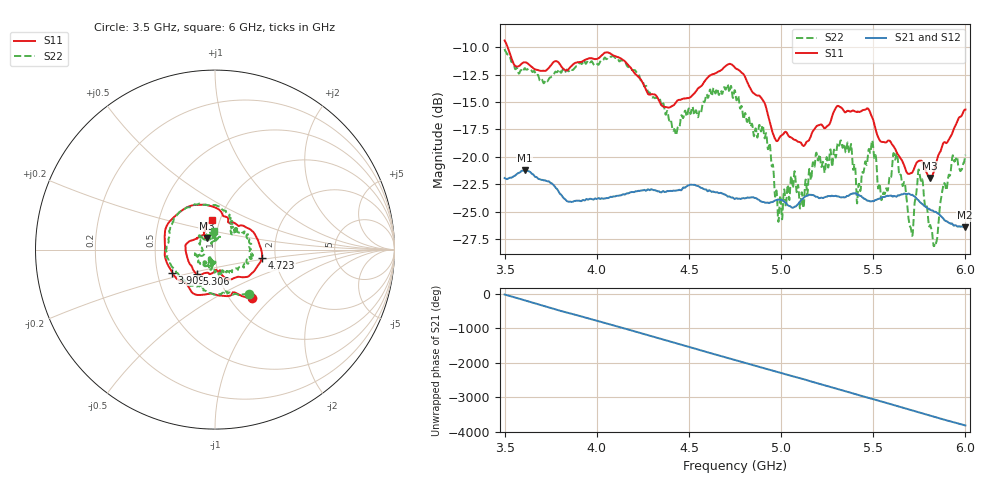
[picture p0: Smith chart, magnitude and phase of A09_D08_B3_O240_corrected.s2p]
! Created with skrf 1.9.0 (http://scikit-rf.org).
# Hz S RI R 50.0
!freq ReS11 ImS11 ReS21 ImS21 ReS12 ImS12 ReS22 ImS22
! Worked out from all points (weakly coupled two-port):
!   1601 points, 3.5 GHz to 6 GHz, reference 50 ohm
!   highest |S21| = -21.20 dB at 3.609 GHz (marker M1); lowest = -26.4 dB at 5.995 GHz (marker M2)
!   lowest |S11| = -21.9 dB at 5.808 GHz (marker M3), VSWR 1.17, Z = 45.2 + j5.95 ohm
!   |S11| at or under -10 dB: 3.516 GHz to end of sweep
!   |S22| runs from -28.2 to -10.2 dB; largest |S21 - S12| = 0.0012
!   S11 on the Smith chart (normalised r, x): 3.5 GHz: 1.26, -0.77; 3.909 GHz: 0.60, -0.16; 4.723 GHz: 1.70, -0.17; 5.306 GHz: 0.79, -0.22; 6 GHz: 0.92, +0.31
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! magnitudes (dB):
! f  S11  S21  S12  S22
! 3.5 GHz  -9.4  -21.9  -21.9  -10.2
! 3.609 GHz  -11.4  -21.2  -21.2  -11.9
! 3.909 GHz  -11.4  -24.0  -24.0  -11.4
! 3.917 GHz  -11.3  -24.0  -24.0  -11.5
! 4.334 GHz  -14.8  -23.1  -23.1  -14.7
! 4.423 GHz  -15.2  -23.1  -23.1  -17.5
! 4.723 GHz  -11.5  -23.7  -23.6  -13.8
! 4.75 GHz  -11.9  -23.8  -23.8  -14.0
! 4.909 GHz  -15.0  -24.1  -24.1  -18.3
! 4.994 GHz  -18.2  -23.9  -23.9  -23.8
! 5.167 GHz  -17.8  -23.5  -23.5  -21.4
! 5.306 GHz  -15.4  -23.6  -23.6  -18.8
! 5.42 GHz  -15.9  -23.5  -23.5  -22.5
! 5.487 GHz  -16.1  -24.1  -24.0  -19.3
! 5.584 GHz  -18.5  -23.6  -23.6  -22.4
! 5.622 GHz  -19.4  -23.6  -23.6  -20.1
! 5.706 GHz  -21.5  -23.5  -23.5  -26.7
! 5.755 GHz  -20.3  -24.1  -24.1  -21.9
! 5.808 GHz  -21.9  -24.8  -24.8  -26.2
! 5.838 GHz  -20.9  -25.0  -25.0  -28.0
! 5.995 GHz  -15.7  -26.4  -26.4  -20.3
! 6 GHz  -15.7  -26.4  -26.4  -19.8
